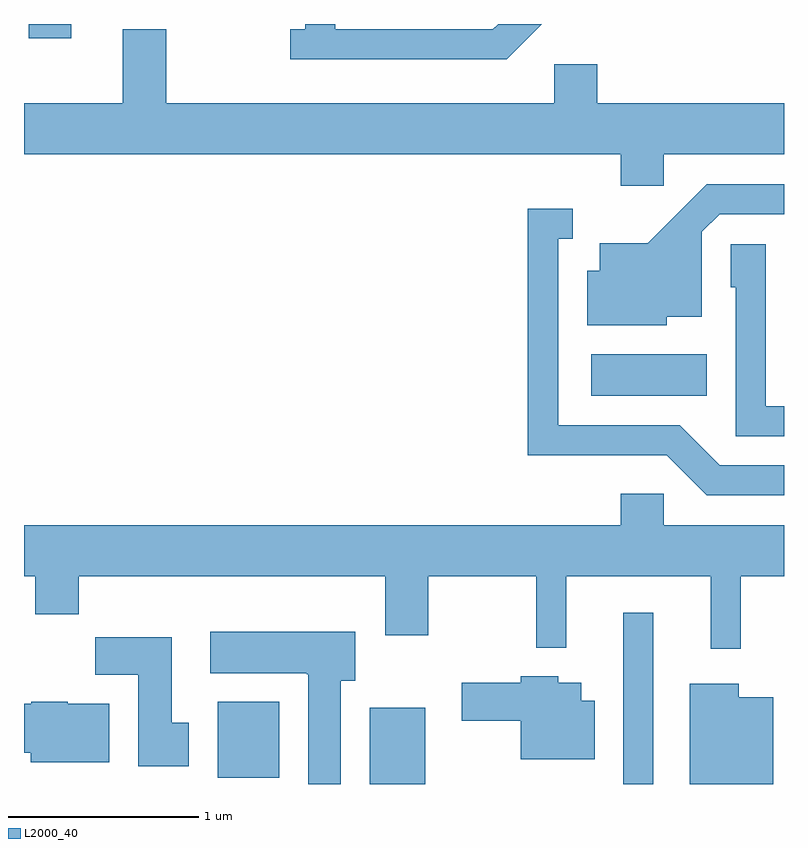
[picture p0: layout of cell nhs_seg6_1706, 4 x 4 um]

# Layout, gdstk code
import gdstk
lib = gdstk.Library(unit=1e-6, precision=1e-09)
def R(c, l, rs):  # rectangles x0, y0, x1, y1
    for r in rs: c.add(gdstk.rectangle(r[:2], r[2:], *l))
def P(c, l, *ps):  # polygons
    for p in ps: c.add(gdstk.Polygon(p, *l))
L2000_40 = (2000, 40)

nhs_seg6_1706 = lib.new_cell('nhs_seg6_1706')
R(nhs_seg6_1706, L2000_40, [(237.431,1662.162,237.724,1662.564), (238.766,1662.162,238.924,1663.063), (236.631,1662.196,236.954,1662.594), (238.596,1664.206,239.204,1664.424), (235.636,1666.086,235.859,1666.162)])
P(nhs_seg6_1706, L2000_40, [(238.188,1666.013),(238.337,1666.162),(238.107,1666.162),(238.079,1666.134),(237.249,1666.134),(237.249,1666.162),(237.091,1666.162),(237.091,1666.134),(237.013,1666.134),(237.013,1665.976),(238.152,1665.976)],
  [(238.979,1665.476),(239.611,1665.476),(239.611,1665.744),(238.629,1665.744),(238.629,1665.949),(238.401,1665.949),(238.401,1665.744),(236.359,1665.744),(236.359,1666.134),(236.131,1666.134),(236.131,1665.744),(235.611,1665.744),(235.611,1665.476),(238.751,1665.476),(238.751,1665.311),(238.979,1665.311)],
  [(238.994,1664.621),(239.179,1664.621),(239.179,1665.069),(239.272,1665.161),(239.611,1665.161),(239.611,1665.319),(239.204,1665.319),(238.894,1665.009),(238.641,1665.009),(238.641,1664.864),(238.576,1664.864),(238.576,1664.576),(238.994,1664.576)],
  [(239.611,1663.839),(239.272,1663.839),(239.062,1664.049),(238.424,1664.049),(238.424,1665.031),(238.498,1665.031),(238.498,1665.189),(238.261,1665.189),(238.261,1663.891),(238.994,1663.891),(239.204,1663.681),(239.611,1663.681)],
  [(239.611,1664.149),(239.514,1664.149),(239.514,1665.004),(239.331,1665.004),(239.331,1664.776),(239.356,1664.776),(239.356,1663.991),(239.611,1663.991)],
  [(239.384,1663.256),(239.611,1663.256),(239.611,1663.524),(238.979,1663.524),(238.979,1663.689),(238.751,1663.689),(238.751,1663.524),(235.611,1663.524),(235.611,1663.256),(235.671,1663.256),(235.671,1663.056),(235.899,1663.056),(235.899,1663.256),(237.511,1663.256),(237.511,1662.946),(237.739,1662.946),(237.739,1663.256),(238.306,1663.256),(238.306,1662.878),(238.464,1662.878),(238.464,1663.256),(239.226,1663.256),(239.226,1662.873),(239.384,1662.873)],
  [(237.279,1662.706),(237.354,1662.706),(237.354,1662.964),(236.591,1662.964),(236.591,1662.746),(237.1,1662.746),(237.1,1662.74),(237.106,1662.74),(237.106,1662.162),(237.279,1662.162)],
  [(236.479,1662.484),(236.389,1662.484),(236.389,1662.934),(235.986,1662.934),(235.986,1662.736),(236.211,1662.736),(236.211,1662.256),(236.479,1662.256)],
  [(238.614,1662.599),(238.544,1662.599),(238.544,1662.694),(238.424,1662.694),(238.424,1662.729),(238.226,1662.729),(238.226,1662.694),(237.916,1662.694),(237.916,1662.496),(238.226,1662.496),(238.226,1662.291),(238.614,1662.291)],
  [(239.554,1662.619),(239.374,1662.619),(239.374,1662.689),(239.116,1662.689),(239.116,1662.162),(239.554,1662.162)],
  [(236.059,1662.584),(235.84,1662.584),(235.84,1662.594),(235.65,1662.594),(235.65,1662.584),(235.611,1662.584),(235.611,1662.326),(235.646,1662.326),(235.646,1662.276),(236.059,1662.276)])

lib.write_gds('nhs_seg6_1706.gds')
